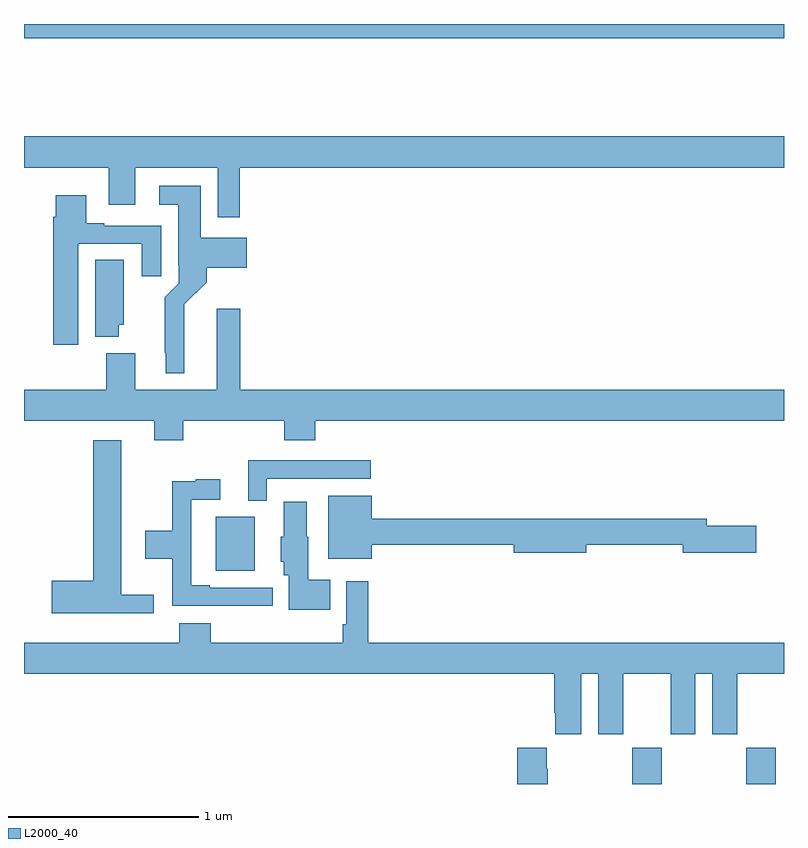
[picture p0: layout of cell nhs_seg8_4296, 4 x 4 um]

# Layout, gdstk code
import gdstk
lib = gdstk.Library(unit=1e-6, precision=1e-09)
def R(c, l, rs):  # rectangles x0, y0, x1, y1
    for r in rs: c.add(gdstk.rectangle(r[:2], r[2:], *l))
def P(c, l, *ps):  # polygons
    for p in ps: c.add(gdstk.Polygon(p, *l))
L2000_40 = (2000, 40)

nhs_seg8_4296 = lib.new_cell('nhs_seg8_4296')
R(nhs_seg8_4296, L2000_40, [(376.201,1135.9,376.356,1136.092), (376.801,1135.9,376.956,1136.092), (374.009,1137.023,374.215,1137.307), (373,1139.824,377,1139.9)])
P(nhs_seg8_4296, L2000_40, [(374.135,1139.144),(377,1139.144),(377,1139.308),(373,1139.308),(373,1139.144),(373.445,1139.144),(373.445,1138.95),(373.585,1138.95),(373.585,1139.144),(374.019,1139.144),(374.019,1138.884),(374.135,1138.884)],
  [(373.843,1138.424),(373.961,1138.542),(373.961,1138.616),(374.173,1138.616),(374.173,1138.774),(373.93,1138.774),(373.93,1139.05),(373.713,1139.05),(373.713,1138.949),(373.811,1138.949),(373.811,1138.63),(373.815,1138.63),(373.815,1138.536),(373.741,1138.462),(373.741,1138.171),(373.745,1138.171),(373.745,1138.061),(373.843,1138.061)],
  [(373.285,1138.743),(373.619,1138.743),(373.619,1138.572),(373.723,1138.572),(373.723,1138.839),(373.423,1138.839),(373.423,1138.852),(373.327,1138.852),(373.327,1138.999),(373.166,1138.999),(373.166,1138.886),(373.154,1138.886),(373.154,1138.212),(373.285,1138.212)],
  [(373.498,1138.317),(373.525,1138.317),(373.525,1138.658),(373.376,1138.658),(373.376,1138.253),(373.498,1138.253)],
  [(373.838,1137.812),(374.369,1137.812),(374.369,1137.71),(374.534,1137.71),(374.534,1137.812),(377,1137.812),(377,1137.976),(374.138,1137.976),(374.138,1138.402),(374.015,1138.402),(374.015,1137.976),(373.585,1137.976),(373.585,1138.168),(373.433,1138.168),(373.433,1137.976),(373,1137.976),(373,1137.812),(373.685,1137.812),(373.685,1137.71),(373.838,1137.71)],
  [(373.684,1136.897),(373.513,1136.897),(373.513,1137.709),(373.364,1137.709),(373.364,1136.969),(373.146,1136.969),(373.146,1136.798),(373.684,1136.798)],
  [(374.277,1137.507),(374.824,1137.507),(374.824,1137.603),(374.18,1137.603),(374.18,1137.392),(374.277,1137.392)],
  [(374.308,1136.934),(373.978,1136.934),(373.978,1136.947),(373.881,1136.947),(373.881,1137.396),(374.032,1137.396),(374.032,1137.505),(373.904,1137.505),(373.904,1137.494),(373.78,1137.494),(373.78,1137.234),(373.638,1137.234),(373.638,1137.086),(373.78,1137.086),(373.78,1136.838),(374.065,1136.838),(374.065,1136.837),(374.308,1136.837)],
  [(374.83,1137.16),(375.578,1137.16),(375.578,1137.118),(375.958,1137.118),(375.958,1137.16),(376.466,1137.16),(376.466,1137.118),(376.855,1137.118),(376.855,1137.26),(376.594,1137.26),(376.594,1137.296),(374.83,1137.296),(374.83,1137.418),(374.6,1137.418),(374.6,1137.086),(374.83,1137.086)],
  [(374.612,1136.974),(374.497,1136.974),(374.497,1137.201),(374.488,1137.201),(374.488,1137.385),(374.366,1137.385),(374.366,1137.201),(374.351,1137.201),(374.351,1137.069),(374.366,1137.069),(374.366,1137),(374.393,1137),(374.393,1136.816),(374.612,1136.816)],
  [(375.934,1136.48),(376.022,1136.48),(376.022,1136.163),(376.153,1136.163),(376.153,1136.48),(376.403,1136.48),(376.403,1136.163),(376.534,1136.163),(376.534,1136.48),(376.622,1136.48),(376.622,1136.163),(376.753,1136.163),(376.753,1136.48),(377,1136.48),(377,1136.644),(374.813,1136.644),(374.813,1136.968),(374.697,1136.968),(374.697,1136.74),(374.677,1136.74),(374.677,1136.644),(373.982,1136.644),(373.982,1136.746),(373.817,1136.746),(373.817,1136.644),(373,1136.644),(373,1136.48),(375.791,1136.48),(375.791,1136.275),(375.797,1136.275),(375.797,1136.163),(375.934,1136.163)],
  [(375.756,1135.979),(375.751,1135.979),(375.751,1136.092),(375.596,1136.092),(375.596,1135.9),(375.756,1135.9)])

lib.write_gds('nhs_seg8_4296.gds')
